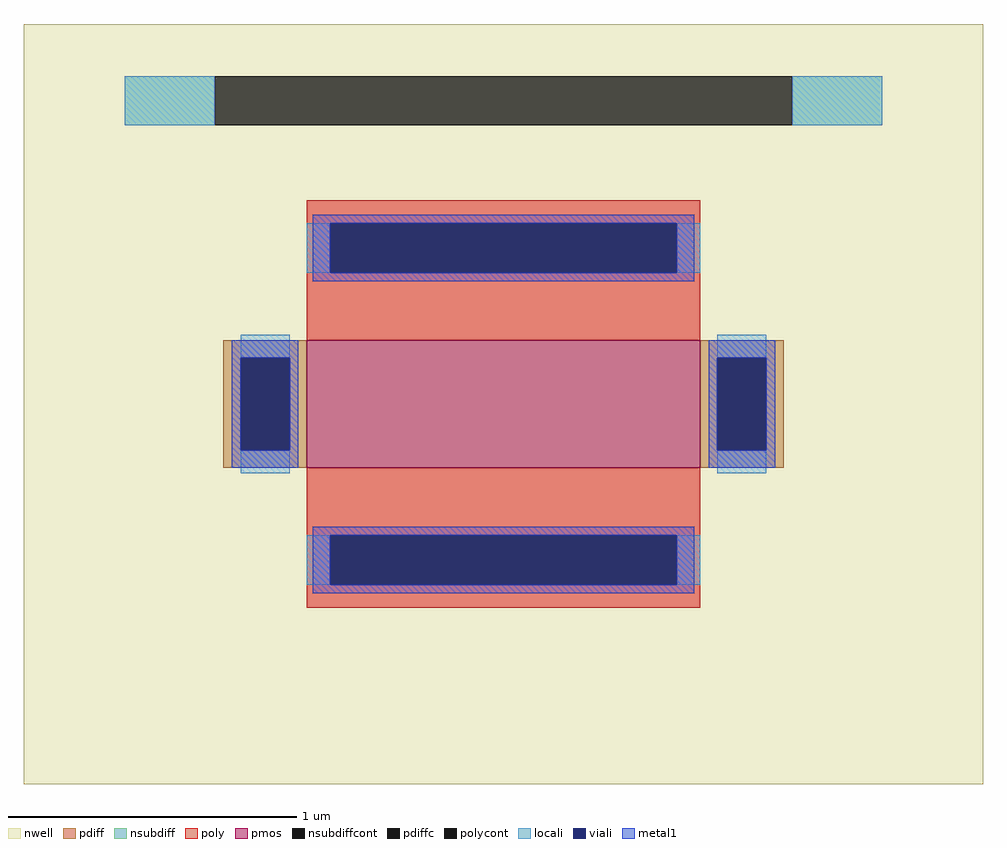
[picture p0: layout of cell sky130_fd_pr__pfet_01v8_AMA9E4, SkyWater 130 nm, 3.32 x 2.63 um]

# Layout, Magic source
magic
tech sky130A
magscale 1 2
<< nwell >>
rect -332 -263 332 263
<< pmos >>
rect -136 -44 136 44
<< pdiff >>
rect -194 32 -136 44
rect -194 -32 -182 32
rect -148 -32 -136 32
rect -194 -44 -136 -32
rect 136 32 194 44
rect 136 -32 148 32
rect 182 -32 194 32
rect 136 -44 194 -32
<< pdiffc >>
rect -182 -32 -148 32
rect 148 -32 182 32
<< nsubdiff >>
rect -262 193 -200 227
rect 200 193 262 227
<< nsubdiffcont >>
rect -200 193 200 227
<< poly >>
rect -136 125 136 141
rect -136 91 -120 125
rect 120 91 136 125
rect -136 44 136 91
rect -136 -91 136 -44
rect -136 -125 -120 -91
rect 120 -125 136 -91
rect -136 -141 136 -125
<< polycont >>
rect -120 91 120 125
rect -120 -125 120 -91
<< locali >>
rect -262 193 -200 227
rect 200 193 262 227
rect -136 91 -120 125
rect 120 91 136 125
rect -182 32 -148 48
rect -182 -48 -148 -32
rect 148 32 182 48
rect 148 -48 182 -32
rect -136 -125 -120 -91
rect 120 -125 136 -91
<< viali >>
rect -120 91 120 125
rect -182 -32 -148 32
rect 148 -32 182 32
rect -120 -125 120 -91
<< metal1 >>
rect -132 125 132 131
rect -132 91 -120 125
rect 120 91 132 125
rect -132 85 132 91
rect -188 32 -142 44
rect -188 -32 -182 32
rect -148 -32 -142 32
rect -188 -44 -142 -32
rect 142 32 188 44
rect 142 -32 148 32
rect 182 -32 188 32
rect 142 -44 188 -32
rect -132 -91 132 -85
rect -132 -125 -120 -91
rect 120 -125 132 -91
rect -132 -131 132 -125
<< properties >>
string FIXED_BBOX -279 -210 279 210
string gencell sky130_fd_pr__pfet_01v8
string library sky130
string parameters w 0.44 l 1.36 m 1 nf 1 diffcov 100 polycov 100 guard 1 glc 1 grc 1 gtc 1 gbc 1 tbcov 100 rlcov 100 topc 1 botc 1 poverlap 0 doverlap 1 lmin 0.15 wmin 0.42 compatible {sky130_fd_pr__pfet_01v8  sky130_fd_pr__pfet_01v8_lvt sky130_fd_pr__pfet_01v8_hvt  sky130_fd_pr__pfet_g5v0d10v5} full_metal 1 viasrc 100 viadrn 100 viagate 100 viagb 0 viagr 0 viagl 0 viagt 0
<< end >>
